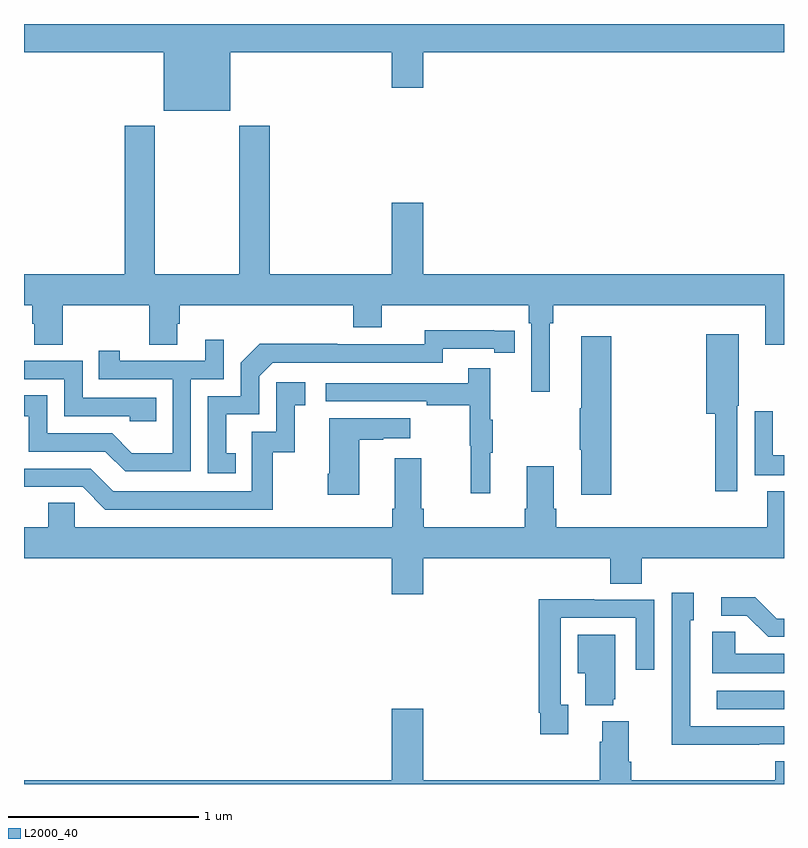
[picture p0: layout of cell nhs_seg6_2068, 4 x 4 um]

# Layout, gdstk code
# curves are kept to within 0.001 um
import gdstk
lib = gdstk.Library(unit=1e-6, precision=1e-09)
def R(c, l, rs):  # rectangles x0, y0, x1, y1
    for r in rs: c.add(gdstk.rectangle(r[:2], r[2:], *l))
def P(c, l, *ps):  # polygons
    for p in ps: c.add(gdstk.Polygon(p, *l))
L2000_40 = (2000, 40)

nhs_seg6_2068 = lib.new_cell('nhs_seg6_2068')
R(nhs_seg6_2068, L2000_40, [(238.647,927.894,239,927.99)])
P(nhs_seg6_2068, L2000_40, [(236.086,931.352),(236.936,931.352),(236.936,931.164),(237.1,931.164),(237.1,931.352),(239,931.352),(239,931.5),(235,931.5),(235,931.352),(235.736,931.352),(235.736,931.043),(236.086,931.043)],
  [(237.766,929.924),(237.785,929.924),(237.785,930.02),(238.901,930.02),(238.901,929.812),(239,929.812),(239,930.184),(237.1,930.184),(237.1,930.559),(236.936,930.559),(236.936,930.184),(236.294,930.184),(236.294,930.964),(236.134,930.964),(236.134,930.184),(235.689,930.184),(235.689,930.964),(235.529,930.964),(235.529,930.184),(235,930.184),(235,930.02),(235.043,930.02),(235.043,929.922),(235.055,929.922),(235.055,929.812),(235.203,929.812),(235.203,930.02),(235.66,930.02),(235.66,929.812),(235.807,929.812),(235.807,929.922),(235.82,929.922),(235.82,930.02),(236.732,930.02),(236.732,929.903),(236.884,929.903),(236.884,930.02),(237.656,930.02),(237.656,929.924),(237.669,929.924),(237.669,929.565),(237.766,929.565)],
  [(236.114,929.241),(236.065,929.241),(236.065,929.445),(236.238,929.445),(236.238,929.646),(236.31,929.718),(237.204,929.718),(237.204,929.79),(237.476,929.79),(237.476,929.77),(237.584,929.77),(237.584,929.886),(237.108,929.887),(237.108,929.814),(236.648,929.814),(236.648,929.816),(236.24,929.816),(236.142,929.718),(236.142,929.541),(235.968,929.541),(235.968,929.136),(236.114,929.136)],
  [(238.755,929.49),(238.762,929.49),(238.762,929.866),(238.592,929.866),(238.592,929.45),(238.639,929.45),(238.639,929.04),(238.755,929.04)],
  [(238.091,929.857),(237.932,929.857),(237.932,929.477),(237.925,929.477),(237.925,929.26),(237.932,929.26),(237.932,929.022),(238.091,929.022)],
  [(235.878,929.631),(236.052,929.631),(236.052,929.839),(235.955,929.839),(235.955,929.727),(235.504,929.727),(235.504,929.779),(235.393,929.779),(235.393,929.631),(235.782,929.631),(235.782,929.242),(235.568,929.242),(235.464,929.346),(235.122,929.346),(235.122,929.545),(235,929.545),(235,929.435),(235.024,929.435),(235.024,929.25),(235.427,929.25),(235.532,929.145),(235.878,929.145)],
  [(235.697,929.532),(235.308,929.532),(235.308,929.727),(235,929.727),(235,929.631),(235.212,929.631),(235.212,929.436),(235.557,929.436),(235.557,929.409),(235.697,929.409)],
  [(237.455,929.243),(237.466,929.243),(237.466,929.417),(237.455,929.417),(237.455,929.689),(237.337,929.689),(237.337,929.61),(236.589,929.61),(236.589,929.514),(237.121,929.514),(237.121,929.494),(237.345,929.494),(237.345,929.28),(237.352,929.28),(237.352,929.031),(237.455,929.031)],
  [(236.308,929.247),(236.426,929.247),(236.426,929.493),(236.479,929.493),(236.479,929.614),(236.328,929.614),(236.328,929.355),(236.199,929.355),(236.199,929.04),(235.47,929.04),(235.35,929.16),(235,929.16),(235,929.064),(235.308,929.064),(235.428,928.944),(236.308,928.944)],
  [(239,929.23),(238.941,929.23),(238.941,929.461),(238.845,929.461),(238.845,929.126),(239,929.126)],
  [(236.764,929.311),(236.891,929.311),(236.891,929.321),(237.034,929.321),(237.034,929.425),(236.606,929.425),(236.606,929.134),(236.599,929.134),(236.599,929.022),(236.764,929.022)],
  [(237.1,928.688),(238.085,928.688),(238.085,928.555),(238.25,928.555),(238.25,928.688),(239,928.688),(239,929.041),(238.913,929.041),(238.913,928.852),(237.8,928.852),(237.8,928.948),(237.787,928.948),(237.787,929.173),(237.647,929.173),(237.647,928.948),(237.635,928.948),(237.635,928.852),(237.104,928.852),(237.104,928.948),(237.091,928.948),(237.091,929.215),(236.951,929.215),(236.951,928.948),(236.939,928.948),(236.939,928.852),(235.266,928.852),(235.266,928.979),(235.127,928.979),(235.127,928.852),(235,928.852),(235,928.688),(236.936,928.688),(236.936,928.5),(237.1,928.5)],
  [(238.871,927.708),(239,927.708),(239,927.804),(238.506,927.804),(238.506,928.362),(238.525,928.362),(238.525,928.507),(238.41,928.507),(238.41,928.013),(238.408,928.013),(238.408,927.707),(238.871,927.707)],
  [(239,928.371),(238.962,928.371),(238.849,928.484),(238.671,928.484),(238.671,928.386),(238.805,928.386),(238.916,928.275),(239,928.275)],
  [(237.865,927.918),(237.825,927.918),(237.825,928.374),(238.221,928.374),(238.221,928.101),(238.317,928.101),(238.317,928.47),(238.001,928.47),(238.001,928.472),(237.709,928.472),(237.709,927.874),(237.717,927.874),(237.717,927.762),(237.865,927.762)],
  [(239,928.186),(238.743,928.186),(238.743,928.301),(238.622,928.301),(238.622,928.082),(239,928.082)],
  [(238.1,927.945),(238.111,927.945),(238.111,928.285),(237.914,928.285),(237.914,928.082),(237.953,928.082),(237.953,927.914),(238.1,927.914)],
  [(239,927.619),(238.955,927.619),(238.955,927.52),(238.196,927.52),(238.196,927.616),(238.183,927.616),(238.183,927.829),(238.043,927.829),(238.043,927.722),(238.031,927.722),(238.031,927.52),(237.1,927.52),(237.1,927.895),(236.936,927.895),(236.936,927.52),(235,927.52),(235,927.5),(239,927.5)])

lib.write_gds('nhs_seg6_2068.gds')
